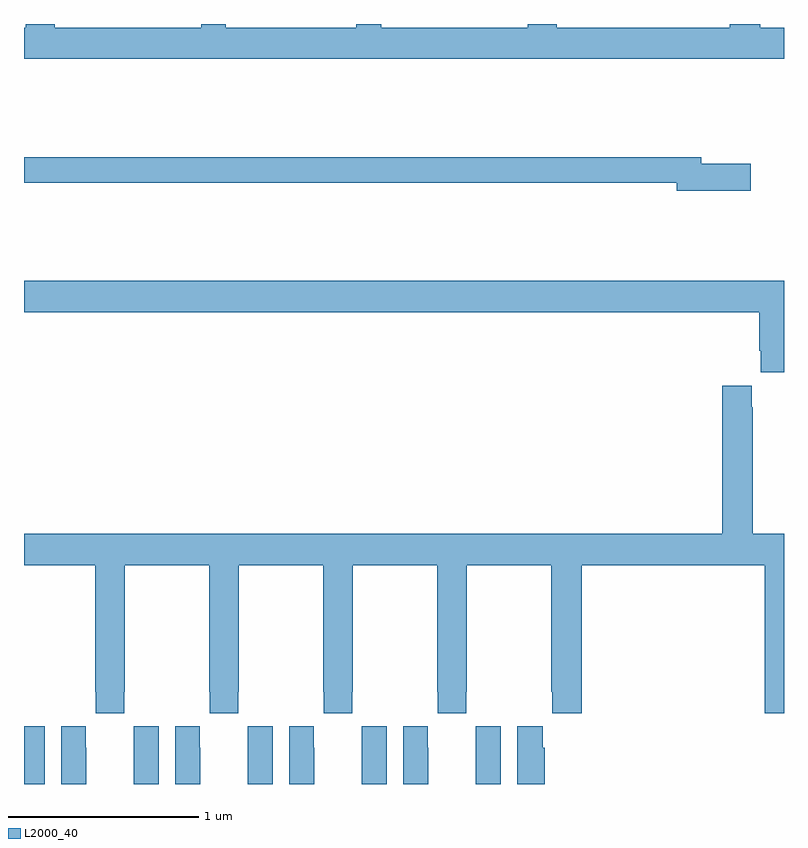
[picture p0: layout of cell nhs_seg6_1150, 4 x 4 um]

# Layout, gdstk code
import gdstk
lib = gdstk.Library(unit=1e-6, precision=1e-09)
def R(c, l, rs):  # rectangles x0, y0, x1, y1
    for r in rs: c.add(gdstk.rectangle(r[:2], r[2:], *l))
def P(c, l, *ps):  # polygons
    for p in ps: c.add(gdstk.Polygon(p, *l))
L2000_40 = (2000, 40)

nhs_seg6_1150 = lib.new_cell('nhs_seg6_1150')
R(nhs_seg6_1150, L2000_40, [(181,963.5,181.108,963.805)])
P(nhs_seg6_1150, L2000_40, [(185,967.48),(184.875,967.48),(184.875,967.5),(184.715,967.5),(184.715,967.48),(183.803,967.48),(183.803,967.5),(183.65,967.5),(183.65,967.48),(182.879,967.48),(182.879,967.5),(182.749,967.5),(182.749,967.48),(182.063,967.48),(182.063,967.5),(181.934,967.5),(181.934,967.48),(181.162,967.48),(181.162,967.5),(181.01,967.5),(181.01,967.48),(181,967.48),(181,967.316),(185,967.316)],
  [(184.825,966.764),(184.564,966.764),(184.564,966.8),(181,966.8),(181,966.664),(184.436,966.664),(184.436,966.622),(184.825,966.622)],
  [(185,966.148),(181,966.148),(181,965.984),(184.871,965.984),(184.871,965.779),(184.877,965.779),(184.877,965.667),(185,965.667)],
  [(181,964.652),(181.375,964.652),(181.375,963.985),(181.377,963.985),(181.377,963.873),(181.527,963.873),(181.527,963.985),(181.53,963.985),(181.53,964.652),(181.975,964.652),(181.975,963.985),(181.977,963.985),(181.977,963.873),(182.127,963.873),(182.127,963.985),(182.13,963.985),(182.13,964.652),(182.575,964.652),(182.575,963.985),(182.577,963.985),(182.577,963.873),(182.727,963.873),(182.727,963.985),(182.73,963.985),(182.73,964.652),(183.175,964.652),(183.175,963.985),(183.177,963.985),(183.177,963.873),(183.327,963.873),(183.327,963.985),(183.33,963.985),(183.33,964.652),(183.775,964.652),(183.775,963.985),(183.781,963.985),(183.781,963.873),(183.935,963.873),(183.935,964.652),(184.898,964.652),(184.898,963.873),(185,963.873),(185,964.816),(184.836,964.816),(184.836,965.483),(184.831,965.483),(184.831,965.596),(184.676,965.596),(184.676,964.816),(181,964.816)],
  [(181.327,963.692),(181.326,963.692),(181.326,963.805),(181.196,963.805),(181.196,963.5),(181.327,963.5)],
  [(181.708,963.805),(181.578,963.805),(181.578,963.692),(181.577,963.692),(181.577,963.5),(181.708,963.5)],
  [(181.927,963.692),(181.926,963.692),(181.926,963.805),(181.796,963.805),(181.796,963.5),(181.927,963.5)],
  [(182.308,963.805),(182.178,963.805),(182.178,963.692),(182.177,963.692),(182.177,963.5),(182.308,963.5)],
  [(182.527,963.692),(182.526,963.692),(182.526,963.805),(182.396,963.805),(182.396,963.5),(182.527,963.5)],
  [(182.908,963.805),(182.778,963.805),(182.778,963.692),(182.777,963.692),(182.777,963.5),(182.908,963.5)],
  [(183.127,963.692),(183.126,963.692),(183.126,963.805),(182.996,963.805),(182.996,963.5),(183.127,963.5)],
  [(183.508,963.805),(183.378,963.805),(183.378,963.692),(183.377,963.692),(183.377,963.5),(183.508,963.5)],
  [(183.74,963.692),(183.73,963.692),(183.73,963.805),(183.596,963.805),(183.596,963.5),(183.74,963.5)])

lib.write_gds('nhs_seg6_1150.gds')
